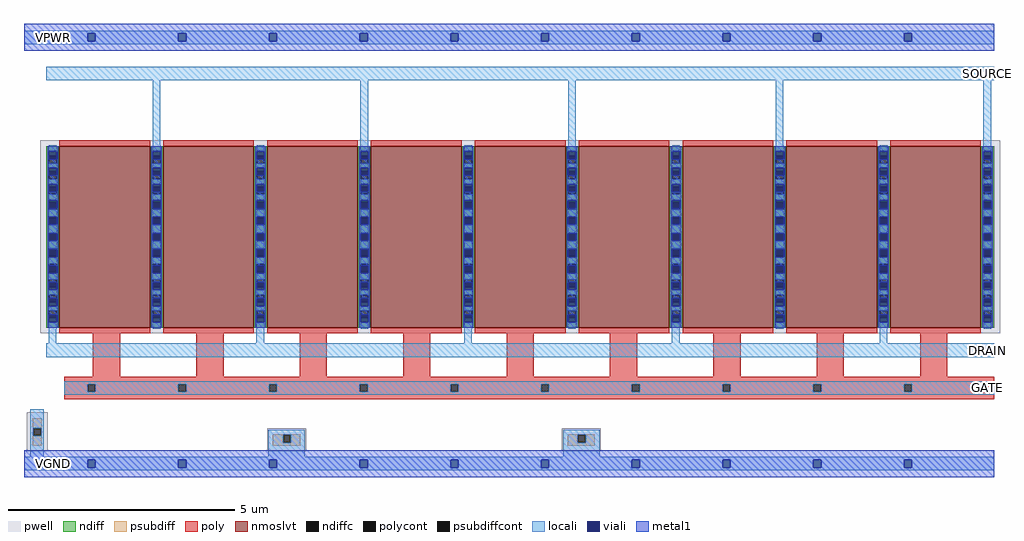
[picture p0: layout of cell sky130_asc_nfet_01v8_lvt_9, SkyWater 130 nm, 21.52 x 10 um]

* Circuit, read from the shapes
.subckt sky130_asc_nfet_01v8_lvt_9 GATE SOURCE DRAIN VPWR VGND
XM1 SOURCE GATE DRAIN VGND sky130_fd_pr__nfet_01v8_lvt w=4 l=2 m=9
.ends

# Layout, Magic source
magic
tech sky130A
magscale 1 2
<< pwell >>
rect 192 574 4424 1426
rect 132 54 224 226
rect 1192 54 1364 156
rect 2492 54 2664 156
<< nmoslvt >>
rect 276 600 676 1400
rect 734 600 1134 1400
rect 1192 600 1592 1400
rect 1650 600 2050 1400
rect 2108 600 2508 1400
rect 2566 600 2966 1400
rect 3024 600 3424 1400
rect 3482 600 3882 1400
rect 3940 600 4340 1400
<< ndiff >>
rect 218 1357 276 1400
rect 218 1323 230 1357
rect 264 1323 276 1357
rect 218 1289 276 1323
rect 218 1255 230 1289
rect 264 1255 276 1289
rect 218 1221 276 1255
rect 218 1187 230 1221
rect 264 1187 276 1221
rect 218 1153 276 1187
rect 218 1119 230 1153
rect 264 1119 276 1153
rect 218 1085 276 1119
rect 218 1051 230 1085
rect 264 1051 276 1085
rect 218 1017 276 1051
rect 218 983 230 1017
rect 264 983 276 1017
rect 218 949 276 983
rect 218 915 230 949
rect 264 915 276 949
rect 218 881 276 915
rect 218 847 230 881
rect 264 847 276 881
rect 218 813 276 847
rect 218 779 230 813
rect 264 779 276 813
rect 218 745 276 779
rect 218 711 230 745
rect 264 711 276 745
rect 218 677 276 711
rect 218 643 230 677
rect 264 643 276 677
rect 218 600 276 643
rect 676 1357 734 1400
rect 676 1323 688 1357
rect 722 1323 734 1357
rect 676 1289 734 1323
rect 676 1255 688 1289
rect 722 1255 734 1289
rect 676 1221 734 1255
rect 676 1187 688 1221
rect 722 1187 734 1221
rect 676 1153 734 1187
rect 676 1119 688 1153
rect 722 1119 734 1153
rect 676 1085 734 1119
rect 676 1051 688 1085
rect 722 1051 734 1085
rect 676 1017 734 1051
rect 676 983 688 1017
rect 722 983 734 1017
rect 676 949 734 983
rect 676 915 688 949
rect 722 915 734 949
rect 676 881 734 915
rect 676 847 688 881
rect 722 847 734 881
rect 676 813 734 847
rect 676 779 688 813
rect 722 779 734 813
rect 676 745 734 779
rect 676 711 688 745
rect 722 711 734 745
rect 676 677 734 711
rect 676 643 688 677
rect 722 643 734 677
rect 676 600 734 643
rect 1134 1357 1192 1400
rect 1134 1323 1146 1357
rect 1180 1323 1192 1357
rect 1134 1289 1192 1323
rect 1134 1255 1146 1289
rect 1180 1255 1192 1289
rect 1134 1221 1192 1255
rect 1134 1187 1146 1221
rect 1180 1187 1192 1221
rect 1134 1153 1192 1187
rect 1134 1119 1146 1153
rect 1180 1119 1192 1153
rect 1134 1085 1192 1119
rect 1134 1051 1146 1085
rect 1180 1051 1192 1085
rect 1134 1017 1192 1051
rect 1134 983 1146 1017
rect 1180 983 1192 1017
rect 1134 949 1192 983
rect 1134 915 1146 949
rect 1180 915 1192 949
rect 1134 881 1192 915
rect 1134 847 1146 881
rect 1180 847 1192 881
rect 1134 813 1192 847
rect 1134 779 1146 813
rect 1180 779 1192 813
rect 1134 745 1192 779
rect 1134 711 1146 745
rect 1180 711 1192 745
rect 1134 677 1192 711
rect 1134 643 1146 677
rect 1180 643 1192 677
rect 1134 600 1192 643
rect 1592 1357 1650 1400
rect 1592 1323 1604 1357
rect 1638 1323 1650 1357
rect 1592 1289 1650 1323
rect 1592 1255 1604 1289
rect 1638 1255 1650 1289
rect 1592 1221 1650 1255
rect 1592 1187 1604 1221
rect 1638 1187 1650 1221
rect 1592 1153 1650 1187
rect 1592 1119 1604 1153
rect 1638 1119 1650 1153
rect 1592 1085 1650 1119
rect 1592 1051 1604 1085
rect 1638 1051 1650 1085
rect 1592 1017 1650 1051
rect 1592 983 1604 1017
rect 1638 983 1650 1017
rect 1592 949 1650 983
rect 1592 915 1604 949
rect 1638 915 1650 949
rect 1592 881 1650 915
rect 1592 847 1604 881
rect 1638 847 1650 881
rect 1592 813 1650 847
rect 1592 779 1604 813
rect 1638 779 1650 813
rect 1592 745 1650 779
rect 1592 711 1604 745
rect 1638 711 1650 745
rect 1592 677 1650 711
rect 1592 643 1604 677
rect 1638 643 1650 677
rect 1592 600 1650 643
rect 2050 1357 2108 1400
rect 2050 1323 2062 1357
rect 2096 1323 2108 1357
rect 2050 1289 2108 1323
rect 2050 1255 2062 1289
rect 2096 1255 2108 1289
rect 2050 1221 2108 1255
rect 2050 1187 2062 1221
rect 2096 1187 2108 1221
rect 2050 1153 2108 1187
rect 2050 1119 2062 1153
rect 2096 1119 2108 1153
rect 2050 1085 2108 1119
rect 2050 1051 2062 1085
rect 2096 1051 2108 1085
rect 2050 1017 2108 1051
rect 2050 983 2062 1017
rect 2096 983 2108 1017
rect 2050 949 2108 983
rect 2050 915 2062 949
rect 2096 915 2108 949
rect 2050 881 2108 915
rect 2050 847 2062 881
rect 2096 847 2108 881
rect 2050 813 2108 847
rect 2050 779 2062 813
rect 2096 779 2108 813
rect 2050 745 2108 779
rect 2050 711 2062 745
rect 2096 711 2108 745
rect 2050 677 2108 711
rect 2050 643 2062 677
rect 2096 643 2108 677
rect 2050 600 2108 643
rect 2508 1357 2566 1400
rect 2508 1323 2520 1357
rect 2554 1323 2566 1357
rect 2508 1289 2566 1323
rect 2508 1255 2520 1289
rect 2554 1255 2566 1289
rect 2508 1221 2566 1255
rect 2508 1187 2520 1221
rect 2554 1187 2566 1221
rect 2508 1153 2566 1187
rect 2508 1119 2520 1153
rect 2554 1119 2566 1153
rect 2508 1085 2566 1119
rect 2508 1051 2520 1085
rect 2554 1051 2566 1085
rect 2508 1017 2566 1051
rect 2508 983 2520 1017
rect 2554 983 2566 1017
rect 2508 949 2566 983
rect 2508 915 2520 949
rect 2554 915 2566 949
rect 2508 881 2566 915
rect 2508 847 2520 881
rect 2554 847 2566 881
rect 2508 813 2566 847
rect 2508 779 2520 813
rect 2554 779 2566 813
rect 2508 745 2566 779
rect 2508 711 2520 745
rect 2554 711 2566 745
rect 2508 677 2566 711
rect 2508 643 2520 677
rect 2554 643 2566 677
rect 2508 600 2566 643
rect 2966 1357 3024 1400
rect 2966 1323 2978 1357
rect 3012 1323 3024 1357
rect 2966 1289 3024 1323
rect 2966 1255 2978 1289
rect 3012 1255 3024 1289
rect 2966 1221 3024 1255
rect 2966 1187 2978 1221
rect 3012 1187 3024 1221
rect 2966 1153 3024 1187
rect 2966 1119 2978 1153
rect 3012 1119 3024 1153
rect 2966 1085 3024 1119
rect 2966 1051 2978 1085
rect 3012 1051 3024 1085
rect 2966 1017 3024 1051
rect 2966 983 2978 1017
rect 3012 983 3024 1017
rect 2966 949 3024 983
rect 2966 915 2978 949
rect 3012 915 3024 949
rect 2966 881 3024 915
rect 2966 847 2978 881
rect 3012 847 3024 881
rect 2966 813 3024 847
rect 2966 779 2978 813
rect 3012 779 3024 813
rect 2966 745 3024 779
rect 2966 711 2978 745
rect 3012 711 3024 745
rect 2966 677 3024 711
rect 2966 643 2978 677
rect 3012 643 3024 677
rect 2966 600 3024 643
rect 3424 1357 3482 1400
rect 3424 1323 3436 1357
rect 3470 1323 3482 1357
rect 3424 1289 3482 1323
rect 3424 1255 3436 1289
rect 3470 1255 3482 1289
rect 3424 1221 3482 1255
rect 3424 1187 3436 1221
rect 3470 1187 3482 1221
rect 3424 1153 3482 1187
rect 3424 1119 3436 1153
rect 3470 1119 3482 1153
rect 3424 1085 3482 1119
rect 3424 1051 3436 1085
rect 3470 1051 3482 1085
rect 3424 1017 3482 1051
rect 3424 983 3436 1017
rect 3470 983 3482 1017
rect 3424 949 3482 983
rect 3424 915 3436 949
rect 3470 915 3482 949
rect 3424 881 3482 915
rect 3424 847 3436 881
rect 3470 847 3482 881
rect 3424 813 3482 847
rect 3424 779 3436 813
rect 3470 779 3482 813
rect 3424 745 3482 779
rect 3424 711 3436 745
rect 3470 711 3482 745
rect 3424 677 3482 711
rect 3424 643 3436 677
rect 3470 643 3482 677
rect 3424 600 3482 643
rect 3882 1357 3940 1400
rect 3882 1323 3894 1357
rect 3928 1323 3940 1357
rect 3882 1289 3940 1323
rect 3882 1255 3894 1289
rect 3928 1255 3940 1289
rect 3882 1221 3940 1255
rect 3882 1187 3894 1221
rect 3928 1187 3940 1221
rect 3882 1153 3940 1187
rect 3882 1119 3894 1153
rect 3928 1119 3940 1153
rect 3882 1085 3940 1119
rect 3882 1051 3894 1085
rect 3928 1051 3940 1085
rect 3882 1017 3940 1051
rect 3882 983 3894 1017
rect 3928 983 3940 1017
rect 3882 949 3940 983
rect 3882 915 3894 949
rect 3928 915 3940 949
rect 3882 881 3940 915
rect 3882 847 3894 881
rect 3928 847 3940 881
rect 3882 813 3940 847
rect 3882 779 3894 813
rect 3928 779 3940 813
rect 3882 745 3940 779
rect 3882 711 3894 745
rect 3928 711 3940 745
rect 3882 677 3940 711
rect 3882 643 3894 677
rect 3928 643 3940 677
rect 3882 600 3940 643
rect 4340 1357 4398 1400
rect 4340 1323 4352 1357
rect 4386 1323 4398 1357
rect 4340 1289 4398 1323
rect 4340 1255 4352 1289
rect 4386 1255 4398 1289
rect 4340 1221 4398 1255
rect 4340 1187 4352 1221
rect 4386 1187 4398 1221
rect 4340 1153 4398 1187
rect 4340 1119 4352 1153
rect 4386 1119 4398 1153
rect 4340 1085 4398 1119
rect 4340 1051 4352 1085
rect 4386 1051 4398 1085
rect 4340 1017 4398 1051
rect 4340 983 4352 1017
rect 4386 983 4398 1017
rect 4340 949 4398 983
rect 4340 915 4352 949
rect 4386 915 4398 949
rect 4340 881 4398 915
rect 4340 847 4352 881
rect 4386 847 4398 881
rect 4340 813 4398 847
rect 4340 779 4352 813
rect 4386 779 4398 813
rect 4340 745 4398 779
rect 4340 711 4352 745
rect 4386 711 4398 745
rect 4340 677 4398 711
rect 4340 643 4352 677
rect 4386 643 4398 677
rect 4340 600 4398 643
<< ndiffc >>
rect 230 1323 264 1357
rect 230 1255 264 1289
rect 230 1187 264 1221
rect 230 1119 264 1153
rect 230 1051 264 1085
rect 230 983 264 1017
rect 230 915 264 949
rect 230 847 264 881
rect 230 779 264 813
rect 230 711 264 745
rect 230 643 264 677
rect 688 1323 722 1357
rect 688 1255 722 1289
rect 688 1187 722 1221
rect 688 1119 722 1153
rect 688 1051 722 1085
rect 688 983 722 1017
rect 688 915 722 949
rect 688 847 722 881
rect 688 779 722 813
rect 688 711 722 745
rect 688 643 722 677
rect 1146 1323 1180 1357
rect 1146 1255 1180 1289
rect 1146 1187 1180 1221
rect 1146 1119 1180 1153
rect 1146 1051 1180 1085
rect 1146 983 1180 1017
rect 1146 915 1180 949
rect 1146 847 1180 881
rect 1146 779 1180 813
rect 1146 711 1180 745
rect 1146 643 1180 677
rect 1604 1323 1638 1357
rect 1604 1255 1638 1289
rect 1604 1187 1638 1221
rect 1604 1119 1638 1153
rect 1604 1051 1638 1085
rect 1604 983 1638 1017
rect 1604 915 1638 949
rect 1604 847 1638 881
rect 1604 779 1638 813
rect 1604 711 1638 745
rect 1604 643 1638 677
rect 2062 1323 2096 1357
rect 2062 1255 2096 1289
rect 2062 1187 2096 1221
rect 2062 1119 2096 1153
rect 2062 1051 2096 1085
rect 2062 983 2096 1017
rect 2062 915 2096 949
rect 2062 847 2096 881
rect 2062 779 2096 813
rect 2062 711 2096 745
rect 2062 643 2096 677
rect 2520 1323 2554 1357
rect 2520 1255 2554 1289
rect 2520 1187 2554 1221
rect 2520 1119 2554 1153
rect 2520 1051 2554 1085
rect 2520 983 2554 1017
rect 2520 915 2554 949
rect 2520 847 2554 881
rect 2520 779 2554 813
rect 2520 711 2554 745
rect 2520 643 2554 677
rect 2978 1323 3012 1357
rect 2978 1255 3012 1289
rect 2978 1187 3012 1221
rect 2978 1119 3012 1153
rect 2978 1051 3012 1085
rect 2978 983 3012 1017
rect 2978 915 3012 949
rect 2978 847 3012 881
rect 2978 779 3012 813
rect 2978 711 3012 745
rect 2978 643 3012 677
rect 3436 1323 3470 1357
rect 3436 1255 3470 1289
rect 3436 1187 3470 1221
rect 3436 1119 3470 1153
rect 3436 1051 3470 1085
rect 3436 983 3470 1017
rect 3436 915 3470 949
rect 3436 847 3470 881
rect 3436 779 3470 813
rect 3436 711 3470 745
rect 3436 643 3470 677
rect 3894 1323 3928 1357
rect 3894 1255 3928 1289
rect 3894 1187 3928 1221
rect 3894 1119 3928 1153
rect 3894 1051 3928 1085
rect 3894 983 3928 1017
rect 3894 915 3928 949
rect 3894 847 3928 881
rect 3894 779 3928 813
rect 3894 711 3928 745
rect 3894 643 3928 677
rect 4352 1323 4386 1357
rect 4352 1255 4386 1289
rect 4352 1187 4386 1221
rect 4352 1119 4386 1153
rect 4352 1051 4386 1085
rect 4352 983 4386 1017
rect 4352 915 4386 949
rect 4352 847 4386 881
rect 4352 779 4386 813
rect 4352 711 4386 745
rect 4352 643 4386 677
<< psubdiff >>
rect 158 157 198 200
rect 158 123 161 157
rect 195 123 198 157
rect 158 80 198 123
rect 1218 127 1338 130
rect 1218 93 1263 127
rect 1297 93 1338 127
rect 1218 80 1338 93
rect 2518 127 2638 130
rect 2518 93 2563 127
rect 2597 93 2638 127
rect 2518 80 2638 93
<< psubdiffcont >>
rect 161 123 195 157
rect 1263 93 1297 127
rect 2563 93 2597 127
<< poly >>
rect 276 1400 676 1426
rect 734 1400 1134 1426
rect 1192 1400 1592 1426
rect 1650 1400 2050 1426
rect 2108 1400 2508 1426
rect 2566 1400 2966 1426
rect 3024 1400 3424 1426
rect 3482 1400 3882 1426
rect 3940 1400 4340 1426
rect 276 574 676 600
rect 734 574 1134 600
rect 1192 574 1592 600
rect 1650 574 2050 600
rect 2108 574 2508 600
rect 2566 574 2966 600
rect 3024 574 3424 600
rect 3482 574 3882 600
rect 3940 574 4340 600
rect 424 384 544 574
rect 880 384 1000 574
rect 1336 384 1456 574
rect 1792 384 1912 574
rect 2248 384 2368 574
rect 2704 384 2824 574
rect 3160 384 3280 574
rect 3616 384 3736 574
rect 4072 384 4192 574
rect 298 351 4398 384
rect 298 317 401 351
rect 435 317 801 351
rect 835 317 1201 351
rect 1235 317 1601 351
rect 1635 317 2001 351
rect 2035 317 2401 351
rect 2435 317 2801 351
rect 2835 317 3201 351
rect 3235 317 3601 351
rect 3635 317 4001 351
rect 4035 317 4398 351
rect 298 284 4398 317
<< polycont >>
rect 401 317 435 351
rect 801 317 835 351
rect 1201 317 1235 351
rect 1601 317 1635 351
rect 2001 317 2035 351
rect 2401 317 2435 351
rect 2801 317 2835 351
rect 3201 317 3235 351
rect 3601 317 3635 351
rect 4001 317 4035 351
<< locali >>
rect 120 1897 4398 1910
rect 120 1863 401 1897
rect 435 1863 801 1897
rect 835 1863 1201 1897
rect 1235 1863 1601 1897
rect 1635 1863 2001 1897
rect 2035 1863 2401 1897
rect 2435 1863 2801 1897
rect 2835 1863 3201 1897
rect 3235 1863 3601 1897
rect 3635 1863 4001 1897
rect 4035 1863 4398 1897
rect 120 1850 4398 1863
rect 218 1690 4398 1750
rect 687 1404 721 1690
rect 1603 1404 1637 1690
rect 2519 1404 2553 1690
rect 3435 1404 3469 1690
rect 4351 1404 4385 1690
rect 230 1377 264 1404
rect 687 1386 722 1404
rect 230 1305 264 1323
rect 230 1233 264 1255
rect 230 1161 264 1187
rect 230 1089 264 1119
rect 230 1017 264 1051
rect 230 949 264 983
rect 230 881 264 911
rect 230 813 264 839
rect 230 745 264 767
rect 230 677 264 695
rect 229 623 230 654
rect 229 596 264 623
rect 688 1377 722 1386
rect 688 1305 722 1323
rect 688 1233 722 1255
rect 688 1161 722 1187
rect 688 1089 722 1119
rect 688 1017 722 1051
rect 688 949 722 983
rect 688 881 722 911
rect 688 813 722 839
rect 688 745 722 767
rect 688 677 722 695
rect 1146 1377 1180 1404
rect 1603 1386 1638 1404
rect 1146 1305 1180 1323
rect 1146 1233 1180 1255
rect 1146 1161 1180 1187
rect 1146 1089 1180 1119
rect 1146 1017 1180 1051
rect 1146 949 1180 983
rect 1146 881 1180 911
rect 1146 813 1180 839
rect 1146 745 1180 767
rect 1146 677 1180 695
rect 688 596 722 623
rect 1145 623 1146 654
rect 1145 596 1180 623
rect 1604 1377 1638 1386
rect 1604 1305 1638 1323
rect 1604 1233 1638 1255
rect 1604 1161 1638 1187
rect 1604 1089 1638 1119
rect 1604 1017 1638 1051
rect 1604 949 1638 983
rect 1604 881 1638 911
rect 1604 813 1638 839
rect 1604 745 1638 767
rect 1604 677 1638 695
rect 2062 1377 2096 1404
rect 2519 1386 2554 1404
rect 2062 1305 2096 1323
rect 2062 1233 2096 1255
rect 2062 1161 2096 1187
rect 2062 1089 2096 1119
rect 2062 1017 2096 1051
rect 2062 949 2096 983
rect 2062 881 2096 911
rect 2062 813 2096 839
rect 2062 745 2096 767
rect 2062 677 2096 695
rect 1604 596 1638 623
rect 2061 623 2062 654
rect 2061 596 2096 623
rect 2520 1377 2554 1386
rect 2520 1305 2554 1323
rect 2520 1233 2554 1255
rect 2520 1161 2554 1187
rect 2520 1089 2554 1119
rect 2520 1017 2554 1051
rect 2520 949 2554 983
rect 2520 881 2554 911
rect 2520 813 2554 839
rect 2520 745 2554 767
rect 2520 677 2554 695
rect 2978 1377 3012 1404
rect 3435 1386 3470 1404
rect 2978 1305 3012 1323
rect 2978 1233 3012 1255
rect 2978 1161 3012 1187
rect 2978 1089 3012 1119
rect 2978 1017 3012 1051
rect 2978 949 3012 983
rect 2978 881 3012 911
rect 2978 813 3012 839
rect 2978 745 3012 767
rect 2978 677 3012 695
rect 2520 596 2554 623
rect 2977 623 2978 654
rect 2977 596 3012 623
rect 3436 1377 3470 1386
rect 3436 1305 3470 1323
rect 3436 1233 3470 1255
rect 3436 1161 3470 1187
rect 3436 1089 3470 1119
rect 3436 1017 3470 1051
rect 3436 949 3470 983
rect 3436 881 3470 911
rect 3436 813 3470 839
rect 3436 745 3470 767
rect 3436 677 3470 695
rect 3894 1377 3928 1404
rect 4351 1386 4386 1404
rect 3894 1305 3928 1323
rect 3894 1233 3928 1255
rect 3894 1161 3928 1187
rect 3894 1089 3928 1119
rect 3894 1017 3928 1051
rect 3894 949 3928 983
rect 3894 881 3928 911
rect 3894 813 3928 839
rect 3894 745 3928 767
rect 3894 677 3928 695
rect 3436 596 3470 623
rect 3893 623 3894 654
rect 3893 596 3928 623
rect 4352 1377 4386 1386
rect 4352 1305 4386 1323
rect 4352 1233 4386 1255
rect 4352 1161 4386 1187
rect 4352 1089 4386 1119
rect 4352 1017 4386 1051
rect 4352 949 4386 983
rect 4352 881 4386 911
rect 4352 813 4386 839
rect 4352 745 4386 767
rect 4352 677 4386 695
rect 4352 596 4386 623
rect 229 530 263 596
rect 1145 530 1179 596
rect 2061 530 2095 596
rect 2977 530 3011 596
rect 3893 530 3927 596
rect 218 470 4398 530
rect 298 351 4398 364
rect 298 317 401 351
rect 435 317 801 351
rect 835 317 1201 351
rect 1235 317 1601 351
rect 1635 317 2001 351
rect 2035 317 2401 351
rect 2435 317 2801 351
rect 2835 317 3201 351
rect 3235 317 3601 351
rect 3635 317 4001 351
rect 4035 317 4398 351
rect 298 304 4398 317
rect 148 157 208 240
rect 148 123 161 157
rect 195 123 208 157
rect 148 30 208 123
rect 1198 127 1358 150
rect 1198 93 1263 127
rect 1297 93 1358 127
rect 1198 30 1358 93
rect 2498 127 2658 150
rect 2498 93 2563 127
rect 2597 93 2658 127
rect 2498 30 2658 93
rect 120 17 4398 30
rect 120 -17 401 17
rect 435 -17 801 17
rect 835 -17 1201 17
rect 1235 -17 1601 17
rect 1635 -17 2001 17
rect 2035 -17 2401 17
rect 2435 -17 2801 17
rect 2835 -17 3201 17
rect 3235 -17 3601 17
rect 3635 -17 4001 17
rect 4035 -17 4398 17
rect 120 -30 4398 -17
<< viali >>
rect 401 1863 435 1897
rect 801 1863 835 1897
rect 1201 1863 1235 1897
rect 1601 1863 1635 1897
rect 2001 1863 2035 1897
rect 2401 1863 2435 1897
rect 2801 1863 2835 1897
rect 3201 1863 3235 1897
rect 3601 1863 3635 1897
rect 4001 1863 4035 1897
rect 230 1357 264 1377
rect 230 1343 264 1357
rect 230 1289 264 1305
rect 230 1271 264 1289
rect 230 1221 264 1233
rect 230 1199 264 1221
rect 230 1153 264 1161
rect 230 1127 264 1153
rect 230 1085 264 1089
rect 230 1055 264 1085
rect 230 983 264 1017
rect 230 915 264 945
rect 230 911 264 915
rect 230 847 264 873
rect 230 839 264 847
rect 230 779 264 801
rect 230 767 264 779
rect 230 711 264 729
rect 230 695 264 711
rect 230 643 264 657
rect 230 623 264 643
rect 688 1357 722 1377
rect 688 1343 722 1357
rect 688 1289 722 1305
rect 688 1271 722 1289
rect 688 1221 722 1233
rect 688 1199 722 1221
rect 688 1153 722 1161
rect 688 1127 722 1153
rect 688 1085 722 1089
rect 688 1055 722 1085
rect 688 983 722 1017
rect 688 915 722 945
rect 688 911 722 915
rect 688 847 722 873
rect 688 839 722 847
rect 688 779 722 801
rect 688 767 722 779
rect 688 711 722 729
rect 688 695 722 711
rect 688 643 722 657
rect 1146 1357 1180 1377
rect 1146 1343 1180 1357
rect 1146 1289 1180 1305
rect 1146 1271 1180 1289
rect 1146 1221 1180 1233
rect 1146 1199 1180 1221
rect 1146 1153 1180 1161
rect 1146 1127 1180 1153
rect 1146 1085 1180 1089
rect 1146 1055 1180 1085
rect 1146 983 1180 1017
rect 1146 915 1180 945
rect 1146 911 1180 915
rect 1146 847 1180 873
rect 1146 839 1180 847
rect 1146 779 1180 801
rect 1146 767 1180 779
rect 1146 711 1180 729
rect 1146 695 1180 711
rect 688 623 722 643
rect 1146 643 1180 657
rect 1146 623 1180 643
rect 1604 1357 1638 1377
rect 1604 1343 1638 1357
rect 1604 1289 1638 1305
rect 1604 1271 1638 1289
rect 1604 1221 1638 1233
rect 1604 1199 1638 1221
rect 1604 1153 1638 1161
rect 1604 1127 1638 1153
rect 1604 1085 1638 1089
rect 1604 1055 1638 1085
rect 1604 983 1638 1017
rect 1604 915 1638 945
rect 1604 911 1638 915
rect 1604 847 1638 873
rect 1604 839 1638 847
rect 1604 779 1638 801
rect 1604 767 1638 779
rect 1604 711 1638 729
rect 1604 695 1638 711
rect 1604 643 1638 657
rect 2062 1357 2096 1377
rect 2062 1343 2096 1357
rect 2062 1289 2096 1305
rect 2062 1271 2096 1289
rect 2062 1221 2096 1233
rect 2062 1199 2096 1221
rect 2062 1153 2096 1161
rect 2062 1127 2096 1153
rect 2062 1085 2096 1089
rect 2062 1055 2096 1085
rect 2062 983 2096 1017
rect 2062 915 2096 945
rect 2062 911 2096 915
rect 2062 847 2096 873
rect 2062 839 2096 847
rect 2062 779 2096 801
rect 2062 767 2096 779
rect 2062 711 2096 729
rect 2062 695 2096 711
rect 1604 623 1638 643
rect 2062 643 2096 657
rect 2062 623 2096 643
rect 2520 1357 2554 1377
rect 2520 1343 2554 1357
rect 2520 1289 2554 1305
rect 2520 1271 2554 1289
rect 2520 1221 2554 1233
rect 2520 1199 2554 1221
rect 2520 1153 2554 1161
rect 2520 1127 2554 1153
rect 2520 1085 2554 1089
rect 2520 1055 2554 1085
rect 2520 983 2554 1017
rect 2520 915 2554 945
rect 2520 911 2554 915
rect 2520 847 2554 873
rect 2520 839 2554 847
rect 2520 779 2554 801
rect 2520 767 2554 779
rect 2520 711 2554 729
rect 2520 695 2554 711
rect 2520 643 2554 657
rect 2978 1357 3012 1377
rect 2978 1343 3012 1357
rect 2978 1289 3012 1305
rect 2978 1271 3012 1289
rect 2978 1221 3012 1233
rect 2978 1199 3012 1221
rect 2978 1153 3012 1161
rect 2978 1127 3012 1153
rect 2978 1085 3012 1089
rect 2978 1055 3012 1085
rect 2978 983 3012 1017
rect 2978 915 3012 945
rect 2978 911 3012 915
rect 2978 847 3012 873
rect 2978 839 3012 847
rect 2978 779 3012 801
rect 2978 767 3012 779
rect 2978 711 3012 729
rect 2978 695 3012 711
rect 2520 623 2554 643
rect 2978 643 3012 657
rect 2978 623 3012 643
rect 3436 1357 3470 1377
rect 3436 1343 3470 1357
rect 3436 1289 3470 1305
rect 3436 1271 3470 1289
rect 3436 1221 3470 1233
rect 3436 1199 3470 1221
rect 3436 1153 3470 1161
rect 3436 1127 3470 1153
rect 3436 1085 3470 1089
rect 3436 1055 3470 1085
rect 3436 983 3470 1017
rect 3436 915 3470 945
rect 3436 911 3470 915
rect 3436 847 3470 873
rect 3436 839 3470 847
rect 3436 779 3470 801
rect 3436 767 3470 779
rect 3436 711 3470 729
rect 3436 695 3470 711
rect 3436 643 3470 657
rect 3894 1357 3928 1377
rect 3894 1343 3928 1357
rect 3894 1289 3928 1305
rect 3894 1271 3928 1289
rect 3894 1221 3928 1233
rect 3894 1199 3928 1221
rect 3894 1153 3928 1161
rect 3894 1127 3928 1153
rect 3894 1085 3928 1089
rect 3894 1055 3928 1085
rect 3894 983 3928 1017
rect 3894 915 3928 945
rect 3894 911 3928 915
rect 3894 847 3928 873
rect 3894 839 3928 847
rect 3894 779 3928 801
rect 3894 767 3928 779
rect 3894 711 3928 729
rect 3894 695 3928 711
rect 3436 623 3470 643
rect 3894 643 3928 657
rect 3894 623 3928 643
rect 4352 1357 4386 1377
rect 4352 1343 4386 1357
rect 4352 1289 4386 1305
rect 4352 1271 4386 1289
rect 4352 1221 4386 1233
rect 4352 1199 4386 1221
rect 4352 1153 4386 1161
rect 4352 1127 4386 1153
rect 4352 1085 4386 1089
rect 4352 1055 4386 1085
rect 4352 983 4386 1017
rect 4352 915 4386 945
rect 4352 911 4386 915
rect 4352 847 4386 873
rect 4352 839 4386 847
rect 4352 779 4386 801
rect 4352 767 4386 779
rect 4352 711 4386 729
rect 4352 695 4386 711
rect 4352 643 4386 657
rect 4352 623 4386 643
rect 401 -17 435 17
rect 801 -17 835 17
rect 1201 -17 1235 17
rect 1601 -17 1635 17
rect 2001 -17 2035 17
rect 2401 -17 2435 17
rect 2801 -17 2835 17
rect 3201 -17 3235 17
rect 3601 -17 3635 17
rect 4001 -17 4035 17
<< metal1 >>
rect 120 1897 4398 1940
rect 120 1863 401 1897
rect 435 1863 801 1897
rect 835 1863 1201 1897
rect 1235 1863 1601 1897
rect 1635 1863 2001 1897
rect 2035 1863 2401 1897
rect 2435 1863 2801 1897
rect 2835 1863 3201 1897
rect 3235 1863 3601 1897
rect 3635 1863 4001 1897
rect 4035 1863 4398 1897
rect 120 1820 4398 1863
rect 224 1377 270 1400
rect 224 1343 230 1377
rect 264 1343 270 1377
rect 224 1305 270 1343
rect 224 1271 230 1305
rect 264 1271 270 1305
rect 224 1233 270 1271
rect 224 1199 230 1233
rect 264 1199 270 1233
rect 224 1161 270 1199
rect 224 1127 230 1161
rect 264 1127 270 1161
rect 224 1089 270 1127
rect 224 1055 230 1089
rect 264 1055 270 1089
rect 224 1017 270 1055
rect 224 983 230 1017
rect 264 983 270 1017
rect 224 945 270 983
rect 224 911 230 945
rect 264 911 270 945
rect 224 873 270 911
rect 224 839 230 873
rect 264 839 270 873
rect 224 801 270 839
rect 224 767 230 801
rect 264 767 270 801
rect 224 729 270 767
rect 224 695 230 729
rect 264 695 270 729
rect 224 657 270 695
rect 224 623 230 657
rect 264 623 270 657
rect 224 600 270 623
rect 682 1377 728 1400
rect 682 1343 688 1377
rect 722 1343 728 1377
rect 682 1305 728 1343
rect 682 1271 688 1305
rect 722 1271 728 1305
rect 682 1233 728 1271
rect 682 1199 688 1233
rect 722 1199 728 1233
rect 682 1161 728 1199
rect 682 1127 688 1161
rect 722 1127 728 1161
rect 682 1089 728 1127
rect 682 1055 688 1089
rect 722 1055 728 1089
rect 682 1017 728 1055
rect 682 983 688 1017
rect 722 983 728 1017
rect 682 945 728 983
rect 682 911 688 945
rect 722 911 728 945
rect 682 873 728 911
rect 682 839 688 873
rect 722 839 728 873
rect 682 801 728 839
rect 682 767 688 801
rect 722 767 728 801
rect 682 729 728 767
rect 682 695 688 729
rect 722 695 728 729
rect 682 657 728 695
rect 682 623 688 657
rect 722 623 728 657
rect 682 600 728 623
rect 1140 1377 1186 1400
rect 1140 1343 1146 1377
rect 1180 1343 1186 1377
rect 1140 1305 1186 1343
rect 1140 1271 1146 1305
rect 1180 1271 1186 1305
rect 1140 1233 1186 1271
rect 1140 1199 1146 1233
rect 1180 1199 1186 1233
rect 1140 1161 1186 1199
rect 1140 1127 1146 1161
rect 1180 1127 1186 1161
rect 1140 1089 1186 1127
rect 1140 1055 1146 1089
rect 1180 1055 1186 1089
rect 1140 1017 1186 1055
rect 1140 983 1146 1017
rect 1180 983 1186 1017
rect 1140 945 1186 983
rect 1140 911 1146 945
rect 1180 911 1186 945
rect 1140 873 1186 911
rect 1140 839 1146 873
rect 1180 839 1186 873
rect 1140 801 1186 839
rect 1140 767 1146 801
rect 1180 767 1186 801
rect 1140 729 1186 767
rect 1140 695 1146 729
rect 1180 695 1186 729
rect 1140 657 1186 695
rect 1140 623 1146 657
rect 1180 623 1186 657
rect 1140 600 1186 623
rect 1598 1377 1644 1400
rect 1598 1343 1604 1377
rect 1638 1343 1644 1377
rect 1598 1305 1644 1343
rect 1598 1271 1604 1305
rect 1638 1271 1644 1305
rect 1598 1233 1644 1271
rect 1598 1199 1604 1233
rect 1638 1199 1644 1233
rect 1598 1161 1644 1199
rect 1598 1127 1604 1161
rect 1638 1127 1644 1161
rect 1598 1089 1644 1127
rect 1598 1055 1604 1089
rect 1638 1055 1644 1089
rect 1598 1017 1644 1055
rect 1598 983 1604 1017
rect 1638 983 1644 1017
rect 1598 945 1644 983
rect 1598 911 1604 945
rect 1638 911 1644 945
rect 1598 873 1644 911
rect 1598 839 1604 873
rect 1638 839 1644 873
rect 1598 801 1644 839
rect 1598 767 1604 801
rect 1638 767 1644 801
rect 1598 729 1644 767
rect 1598 695 1604 729
rect 1638 695 1644 729
rect 1598 657 1644 695
rect 1598 623 1604 657
rect 1638 623 1644 657
rect 1598 600 1644 623
rect 2056 1377 2102 1400
rect 2056 1343 2062 1377
rect 2096 1343 2102 1377
rect 2056 1305 2102 1343
rect 2056 1271 2062 1305
rect 2096 1271 2102 1305
rect 2056 1233 2102 1271
rect 2056 1199 2062 1233
rect 2096 1199 2102 1233
rect 2056 1161 2102 1199
rect 2056 1127 2062 1161
rect 2096 1127 2102 1161
rect 2056 1089 2102 1127
rect 2056 1055 2062 1089
rect 2096 1055 2102 1089
rect 2056 1017 2102 1055
rect 2056 983 2062 1017
rect 2096 983 2102 1017
rect 2056 945 2102 983
rect 2056 911 2062 945
rect 2096 911 2102 945
rect 2056 873 2102 911
rect 2056 839 2062 873
rect 2096 839 2102 873
rect 2056 801 2102 839
rect 2056 767 2062 801
rect 2096 767 2102 801
rect 2056 729 2102 767
rect 2056 695 2062 729
rect 2096 695 2102 729
rect 2056 657 2102 695
rect 2056 623 2062 657
rect 2096 623 2102 657
rect 2056 600 2102 623
rect 2514 1377 2560 1400
rect 2514 1343 2520 1377
rect 2554 1343 2560 1377
rect 2514 1305 2560 1343
rect 2514 1271 2520 1305
rect 2554 1271 2560 1305
rect 2514 1233 2560 1271
rect 2514 1199 2520 1233
rect 2554 1199 2560 1233
rect 2514 1161 2560 1199
rect 2514 1127 2520 1161
rect 2554 1127 2560 1161
rect 2514 1089 2560 1127
rect 2514 1055 2520 1089
rect 2554 1055 2560 1089
rect 2514 1017 2560 1055
rect 2514 983 2520 1017
rect 2554 983 2560 1017
rect 2514 945 2560 983
rect 2514 911 2520 945
rect 2554 911 2560 945
rect 2514 873 2560 911
rect 2514 839 2520 873
rect 2554 839 2560 873
rect 2514 801 2560 839
rect 2514 767 2520 801
rect 2554 767 2560 801
rect 2514 729 2560 767
rect 2514 695 2520 729
rect 2554 695 2560 729
rect 2514 657 2560 695
rect 2514 623 2520 657
rect 2554 623 2560 657
rect 2514 600 2560 623
rect 2972 1377 3018 1400
rect 2972 1343 2978 1377
rect 3012 1343 3018 1377
rect 2972 1305 3018 1343
rect 2972 1271 2978 1305
rect 3012 1271 3018 1305
rect 2972 1233 3018 1271
rect 2972 1199 2978 1233
rect 3012 1199 3018 1233
rect 2972 1161 3018 1199
rect 2972 1127 2978 1161
rect 3012 1127 3018 1161
rect 2972 1089 3018 1127
rect 2972 1055 2978 1089
rect 3012 1055 3018 1089
rect 2972 1017 3018 1055
rect 2972 983 2978 1017
rect 3012 983 3018 1017
rect 2972 945 3018 983
rect 2972 911 2978 945
rect 3012 911 3018 945
rect 2972 873 3018 911
rect 2972 839 2978 873
rect 3012 839 3018 873
rect 2972 801 3018 839
rect 2972 767 2978 801
rect 3012 767 3018 801
rect 2972 729 3018 767
rect 2972 695 2978 729
rect 3012 695 3018 729
rect 2972 657 3018 695
rect 2972 623 2978 657
rect 3012 623 3018 657
rect 2972 600 3018 623
rect 3430 1377 3476 1400
rect 3430 1343 3436 1377
rect 3470 1343 3476 1377
rect 3430 1305 3476 1343
rect 3430 1271 3436 1305
rect 3470 1271 3476 1305
rect 3430 1233 3476 1271
rect 3430 1199 3436 1233
rect 3470 1199 3476 1233
rect 3430 1161 3476 1199
rect 3430 1127 3436 1161
rect 3470 1127 3476 1161
rect 3430 1089 3476 1127
rect 3430 1055 3436 1089
rect 3470 1055 3476 1089
rect 3430 1017 3476 1055
rect 3430 983 3436 1017
rect 3470 983 3476 1017
rect 3430 945 3476 983
rect 3430 911 3436 945
rect 3470 911 3476 945
rect 3430 873 3476 911
rect 3430 839 3436 873
rect 3470 839 3476 873
rect 3430 801 3476 839
rect 3430 767 3436 801
rect 3470 767 3476 801
rect 3430 729 3476 767
rect 3430 695 3436 729
rect 3470 695 3476 729
rect 3430 657 3476 695
rect 3430 623 3436 657
rect 3470 623 3476 657
rect 3430 600 3476 623
rect 3888 1377 3934 1400
rect 3888 1343 3894 1377
rect 3928 1343 3934 1377
rect 3888 1305 3934 1343
rect 3888 1271 3894 1305
rect 3928 1271 3934 1305
rect 3888 1233 3934 1271
rect 3888 1199 3894 1233
rect 3928 1199 3934 1233
rect 3888 1161 3934 1199
rect 3888 1127 3894 1161
rect 3928 1127 3934 1161
rect 3888 1089 3934 1127
rect 3888 1055 3894 1089
rect 3928 1055 3934 1089
rect 3888 1017 3934 1055
rect 3888 983 3894 1017
rect 3928 983 3934 1017
rect 3888 945 3934 983
rect 3888 911 3894 945
rect 3928 911 3934 945
rect 3888 873 3934 911
rect 3888 839 3894 873
rect 3928 839 3934 873
rect 3888 801 3934 839
rect 3888 767 3894 801
rect 3928 767 3934 801
rect 3888 729 3934 767
rect 3888 695 3894 729
rect 3928 695 3934 729
rect 3888 657 3934 695
rect 3888 623 3894 657
rect 3928 623 3934 657
rect 3888 600 3934 623
rect 4346 1377 4392 1400
rect 4346 1343 4352 1377
rect 4386 1343 4392 1377
rect 4346 1305 4392 1343
rect 4346 1271 4352 1305
rect 4386 1271 4392 1305
rect 4346 1233 4392 1271
rect 4346 1199 4352 1233
rect 4386 1199 4392 1233
rect 4346 1161 4392 1199
rect 4346 1127 4352 1161
rect 4386 1127 4392 1161
rect 4346 1089 4392 1127
rect 4346 1055 4352 1089
rect 4386 1055 4392 1089
rect 4346 1017 4392 1055
rect 4346 983 4352 1017
rect 4386 983 4392 1017
rect 4346 945 4392 983
rect 4346 911 4352 945
rect 4386 911 4392 945
rect 4346 873 4392 911
rect 4346 839 4352 873
rect 4386 839 4392 873
rect 4346 801 4392 839
rect 4346 767 4352 801
rect 4386 767 4392 801
rect 4346 729 4392 767
rect 4346 695 4352 729
rect 4386 695 4392 729
rect 4346 657 4392 695
rect 4346 623 4352 657
rect 4386 623 4392 657
rect 4346 600 4392 623
rect 120 17 4398 60
rect 120 -17 401 17
rect 435 -17 801 17
rect 835 -17 1201 17
rect 1235 -17 1601 17
rect 1635 -17 2001 17
rect 2035 -17 2401 17
rect 2435 -17 2801 17
rect 2835 -17 3201 17
rect 3235 -17 3601 17
rect 3635 -17 4001 17
rect 4035 -17 4398 17
rect 120 -60 4398 -17
<< labels >>
flabel locali s 4338 304 4398 364 1 FreeSans 1250 0 0 0 GATE
port 1 nsew
flabel locali s 4338 1690 4398 1750 1 FreeSans 1250 0 0 0 SOURCE
port 2 nsew
flabel locali s 4338 470 4398 530 1 FreeSans 1250 0 0 0 DRAIN
port 3 nsew
flabel metal1 s 218 1850 278 1910 1 FreeSans 1250 0 0 0 VPWR
port 4 nsew
flabel metal1 s 218 -30 278 30 1 FreeSans 1250 0 0 0 VGND
port 5 nsew
<< properties >>
string FIXED_BBOX 0 0 4518 1880
<< end >>
